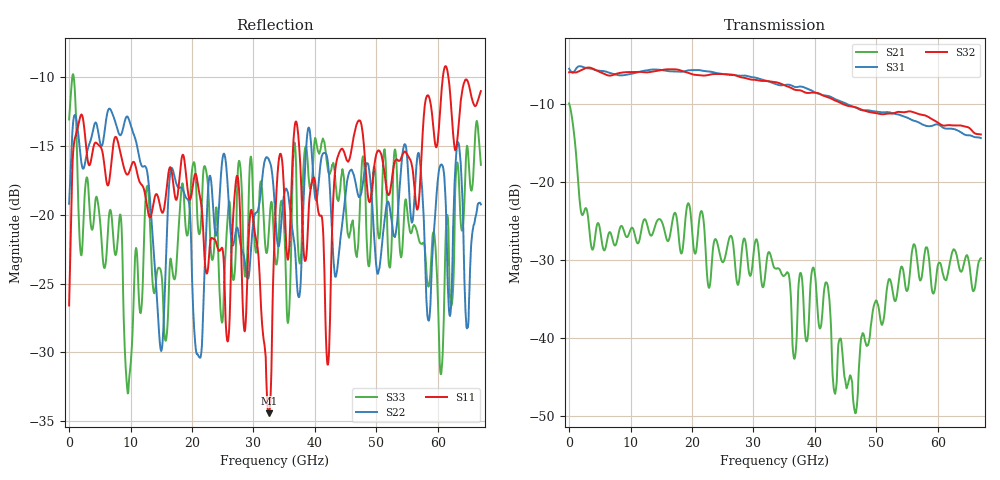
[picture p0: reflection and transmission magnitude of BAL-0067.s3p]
! MARKI MICROWAVE INC.
! Email:  info@markimicrowave.com  Phone:  408-778-4200
! Model Number:  BAL-0067  Date:  10/14
! Filename:		BAL-0067.S3P  Version: 1.0
! Description:  3-port S-parameter data for Balun BAL-0067
! Frequency Range: 	10 MHz to 67 GHz
! Port Configuration:	PORT 1: OUTPUT (0 DEGREE), PORT 2: OUTPUT (180 DEGREE), PORT 3: COMMON
! S3P File: Measurements: Mag<S11> Ang<S11> Mag<S12> Ang<S12> Mag<S13> Ang<S13>! row 1
!  Mag<S21> Ang<S21> Mag<S22> Ang<S22> Mag<S23> Ang<S23>! row 2
!  Mag<S31> Ang<S31> Mag<S32> Ang<S32> Mag<S33> Ang<S33>! row 3
# Hz S  dB  R 50
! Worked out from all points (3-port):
!   801 points, 10 MHz to 67 GHz, reference 50 ohm
!   strongest paths, dB at 10 MHz, 16.76 GHz, 33.51 GHz, 50.25 GHz, 67 GHz:
!     S32: -6.0, -5.6, -7.2, -11.2, -13.9
!     S31: -5.5, -5.8, -7.4, -11.0, -14.4
!     S21: -9.9, -25.3, -31.1, -35.7, -29.8
!   lowest |S11| = -34.4 dB at 32.5 GHz (marker M1), VSWR 1.04, Z = 51.7 - j0.933 ohm
!   |S11| at or under -10 dB: start of sweep to 60.81 GHz; 61.72 GHz to end of sweep
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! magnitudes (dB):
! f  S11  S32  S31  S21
! 10 MHz  -26.6  -6.0  -5.5  -9.9
! 9.556 GHz  -17.1  -5.9  -6.2  -27.0
! 21.11 GHz  -18.2  -6.3  -5.7  -25.3
! 32.5 GHz  -34.4  -7.1  -7.1  -29.0
! 33.51 GHz  -20.8  -7.2  -7.4  -31.1
! 42.13 GHz  -30.9  -9.1  -9.0  -33.5
! 46.57 GHz  -13.8  -10.4  -10.5  -49.7
! 56.03 GHz  -17.2  -11.1  -12.2  -28.1
! 60.55 GHz  -11.3  -12.7  -12.9  -30.8
! 67 GHz  -11.0  -13.9  -14.4  -29.8
